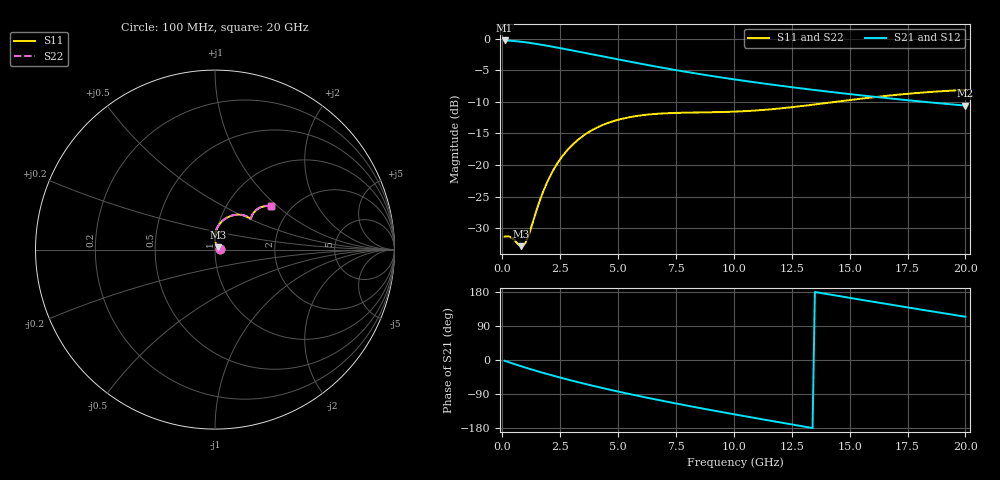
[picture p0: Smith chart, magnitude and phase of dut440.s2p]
! Touchstone file exported from HFSS 2024.1.0
!  File:  C:/UserFiles/LocalFiles/RDL_TSV_Batchsim/temp_RDL_TSV_440_1779722454.aedt
!  Generated:  11:37:15 PM May 25, 2026
!  Design:  RDL_TSV
!  Project:  temp_RDL_TSV_440_1779722454
!  Setup:  Setup1
!  Solution:  Sweep
! Variables:
!  dtsv = 13.85um
!  hbump = 3um
!  htsv = 64.75um
!  ldown = 471.17um
!  lrdl = 523.46um
!  p = 40
!  p1 = 43.38um
!  rhole = 10um
!  subl = 3507.35um
!  t = 450um
!  tdown = 4.04um
!  trdl = 2.65um
!  viad = 10um
!  wdown = 27.07um
!  wrdl = 12.25um
!  xbump = 18um
# GHz S MA R 50.000000
! Terminal data exported
! Port[1] = TM1_1_T1
! Port[2] = TM1_4_T1
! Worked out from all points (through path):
!   200 points, 100 MHz to 20 GHz, reference 50 ohm
!   highest |S21| = -0.24 dB at 100 MHz (marker M1); lowest = -10.6 dB at 20 GHz (marker M2)
!   group delay of S21, straight-line fit = 32.5 ps
!   lowest |S11| = -32.9 dB at 800 MHz (marker M3), VSWR 1.05, Z = 51.8 + j1.42 ohm
!   |S11| at or under -10 dB: start of sweep to 14.35 GHz
!   |S22| runs from -32.9 to -8.1 dB; largest |S21 - S12| = 8.1e-15
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0.1  0.02701 4.0  0.9725 -2.1  0.9725 -2.1  0.02701 4.0
! Gamma 0 0 0 0
! Port Impedance 50 0 50 0
0.4  0.02651 13.1  0.9658 -8.3  0.9658 -8.3  0.0265 13.1
0.8  0.0227 37.2  0.9505 -16.2  0.9505 -16.2  0.02269 37.3
0.9  0.02286 47.2  0.9457 -18.1  0.9457 -18.1  0.02286 47.3
1.1  0.02647 66.9  0.9352 -22.0  0.9352 -22.0  0.0265 67.0
1.7  0.05722 90.3  0.8986 -32.9  0.8986 -32.9  0.05734 90.3
1.9  0.07039 90.8  0.8855 -36.4  0.8855 -36.4  0.07054 90.8
2.2  0.09078 89.2  0.8655 -41.4  0.8655 -41.4  0.09096 89.2
2.8  0.1305 82.8  0.8252 -51.2  0.8252 -51.2  0.1307 82.8
3.5  0.1708 74.2  0.7792 -61.9  0.7792 -61.9  0.1711 74.2
4.1  0.1985 67.3  0.7413 -70.7  0.7413 -70.7  0.1988 67.3
4.9  0.2256 59.2  0.6937 -81.9  0.6937 -81.9  0.226 59.3
5.8  0.2447 52.1  0.6447 -93.8  0.6447 -93.8  0.2451 52.1
6.8  0.2555 46.3  0.5961 -106.3  0.5961 -106.3  0.2559 46.3
8.4  0.2609 41.6  0.5308 -125.2  0.5308 -125.2  0.2612 41.6
10.1  0.2653 41.0  0.4751 -144.3  0.4751 -144.3  0.2655 41.0
11.7  0.2776 42.4  0.4326 -161.6  0.4326 -161.6  0.2778 42.5
13.4  0.3006 43.7  0.3951 -179.5  0.3951 -179.5  0.3009 43.8
15.1  0.3291 43.6  0.3634 163.0  0.3634 163.0  0.3297 43.7
16.7  0.3554 42.1  0.3379 146.8  0.3379 146.8  0.3563 42.3
18.3  0.3774 40.0  0.3159 130.9  0.3159 130.9  0.3786 40.2
20  0.3941 37.6  0.2959 114.1  0.2959 114.1  0.3957 37.7
